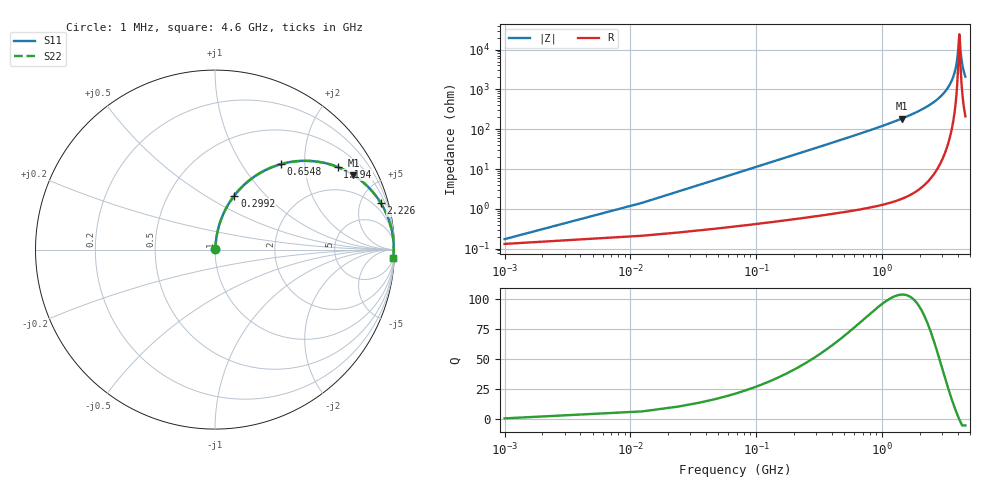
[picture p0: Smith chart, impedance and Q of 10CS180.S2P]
! Coilcraft 1008CS-180 Chip Inductor
! 02 July 2002
# MHZ S MA R 50
!Freq  MagS11  AngS11  MagS21  AngS21  MagS12  AngS12  MagS22  AngS22
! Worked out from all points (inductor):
!   402 points, 1 MHz to 4.6 GHz, reference 50 ohm
!   read as one part in series: L = 18 nH near 23.94 MHz
!   highest Q = 103 at 1.435 GHz (marker M1), where L = 20.5 nH
!   self-resonance near 4.107 GHz
!   S11 on the Smith chart (normalised r, x): 1 MHz: 1.00, +0.00; 299.2 MHz: 1.01, +0.68; 654.8 MHz: 1.02, +1.52; 1.194 GHz: 1.03, +2.95; 2.226 GHz: 1.09, +7.11; 4.6 GHz: 5, -42
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1  0.001733 40.6  0.9987 -0.1  0.9987 -0.1  0.001733 40.6
35.41  0.04001 83.6  0.9963 -2.3  0.9963 -2.3  0.04001 83.6
69.82  0.07854 82.9  0.9933 -4.5  0.9933 -4.5  0.07854 82.9
161.58  0.1792 78.1  0.9789 -10.3  0.9789 -10.3  0.1792 78.1
299.22  0.3203 70.2  0.9412 -18.7  0.9412 -18.7  0.3203 70.2
654.79  0.6014 52.3  0.7914 -37.0  0.7914 -37.0  0.6014 52.3
769.49  0.6659 47.6  0.7384 -41.7  0.7384 -41.7  0.6659 47.6
1193.88  0.8238 34.0  0.5588 -55.5  0.5588 -55.5  0.8238 34.0
1434.75  0.8758 28.3  0.4742 -61.1  0.4742 -61.1  0.8758 28.3
1537.98  0.8929 26.2  0.4417 -63.2  0.4417 -63.2  0.8929 26.2
2226.18  0.9597 15.6  0.2698 -73.7  0.2698 -73.7  0.9597 15.6
2306.47  0.9641 14.7  0.2536 -74.6  0.2536 -74.6  0.9641 14.7
3074.96  0.9888 7.2  0.1258 -81.3  0.1258 -81.3  0.9888 7.2
3545.23  0.9944 3.7  0.06428 -83.2  0.06428 -83.2  0.9944 3.7
3843.45  0.9957 1.7  0.02977 -80.9  0.02977 -80.9  0.9957 1.7
3981.09  0.9959 0.8  0.015 -73.8  0.015 -73.8  0.9959 0.8
4095.79  0.9959 0.1  0.004725 -29.2  0.004725 -29.2  0.9959 0.1
4118.73  0.9959 -0.0  0.004147 1.0  0.004147 1.0  0.9959 -0.0
4233.43  0.9956 -0.7  0.01257 69.4  0.01257 69.4  0.9956 -0.7
4313.72  0.9954 -1.1  0.02033 76.4  0.02033 76.4  0.9954 -1.1
4439.89  0.9949 -1.8  0.03249 80.1  0.03249 80.1  0.9949 -1.8
4600  0.9941 -2.7  0.04757 81.5  0.04757 81.5  0.9941 -2.7
